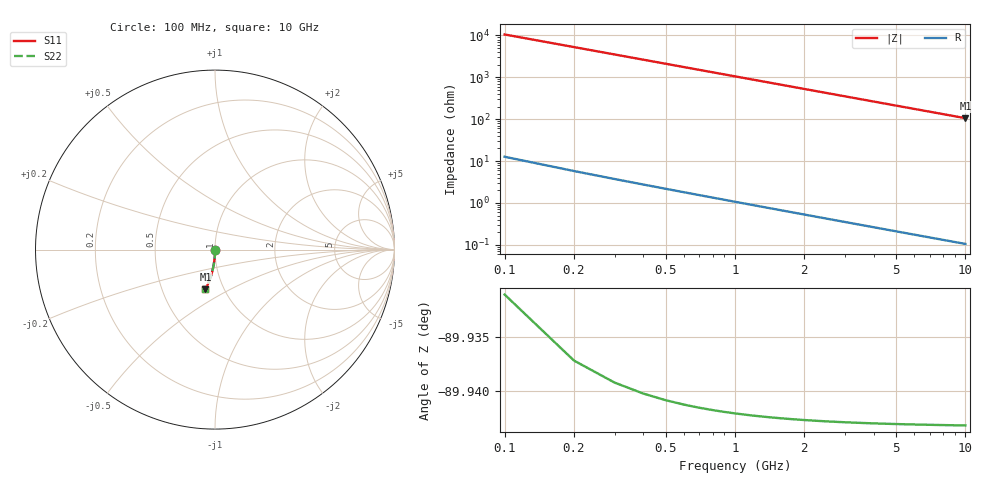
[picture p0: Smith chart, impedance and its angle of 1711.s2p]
# Hz S RI R 50.00
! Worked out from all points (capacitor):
!   100 points, 100 MHz to 10 GHz, reference 50 ohm
!   read as one part in shunt: C = 151 fF near 100 MHz
!   lowest |Z| = 106 ohm at 10 GHz (marker M1)
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1e8  -1.58e-07 -0.00235  1 -0.00239  1 -0.00239  -1.58e-07 -0.00235
2e8  -1.93e-05 -0.00471  1 -0.00477  1 -0.00477  -1.93e-05 -0.00471
3e8  -4.97e-05 -0.00706  0.9999 -0.00716  0.9999 -0.00716  -4.97e-05 -0.00706
4e8  -9.13e-05 -0.00941  0.9999 -0.00954  0.9999 -0.00954  -9.13e-05 -0.00941
5e8  -0.000144 -0.0118  0.9998 -0.0119  0.9998 -0.0119  -0.000144 -0.0118
6e8  -0.000208 -0.0141  0.9998 -0.0143  0.9998 -0.0143  -0.000208 -0.0141
7e8  -0.000284 -0.0165  0.9997 -0.0167  0.9997 -0.0167  -0.000284 -0.0165
8e8  -0.00037 -0.0188  0.9996 -0.0191  0.9996 -0.0191  -0.00037 -0.0188
9e8  -0.000468 -0.0212  0.9995 -0.0215  0.9995 -0.0215  -0.000468 -0.0212
1.1e9  -0.000697 -0.0259  0.9993 -0.0262  0.9993 -0.0262  -0.000697 -0.0259
1.4e9  -0.00112 -0.0329  0.9989 -0.0334  0.9989 -0.0334  -0.00112 -0.0329
1.8e9  -0.00185 -0.0423  0.9981 -0.0429  0.9981 -0.0429  -0.00185 -0.0423
2.1e9  -0.00251 -0.0493  0.9975 -0.05  0.9975 -0.05  -0.00251 -0.0493
2.5e9  -0.00355 -0.0586  0.9964 -0.0594  0.9964 -0.0594  -0.00355 -0.0586
2.9e9  -0.00476 -0.0679  0.9952 -0.0688  0.9952 -0.0688  -0.00476 -0.0679
3.4e9  -0.00651 -0.0794  0.9935 -0.0806  0.9935 -0.0806  -0.00651 -0.0794
4.2e9  -0.00988 -0.0978  0.9901 -0.0992  0.9901 -0.0992  -0.00988 -0.0978
5.1e9  -0.0145 -0.1182  0.9855 -0.1198  0.9855 -0.1198  -0.0145 -0.1182
5.9e9  -0.0193 -0.136  0.9807 -0.1379  0.9807 -0.1379  -0.0193 -0.136
6.7e9  -0.0247 -0.1535  0.9753 -0.1557  0.9753 -0.1557  -0.0247 -0.1535
8.4e9  -0.0381 -0.1897  0.9618 -0.1924  0.9618 -0.1924  -0.0381 -0.1897
1e10  -0.0531 -0.2221  0.9469 -0.2254  0.9469 -0.2254  -0.0531 -0.2221
